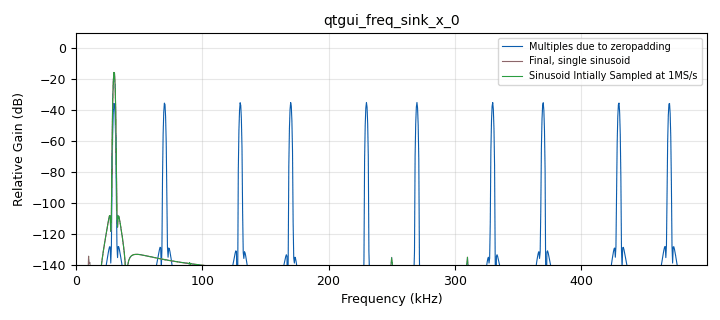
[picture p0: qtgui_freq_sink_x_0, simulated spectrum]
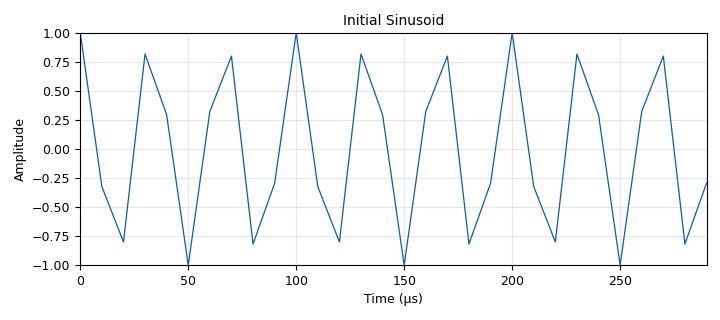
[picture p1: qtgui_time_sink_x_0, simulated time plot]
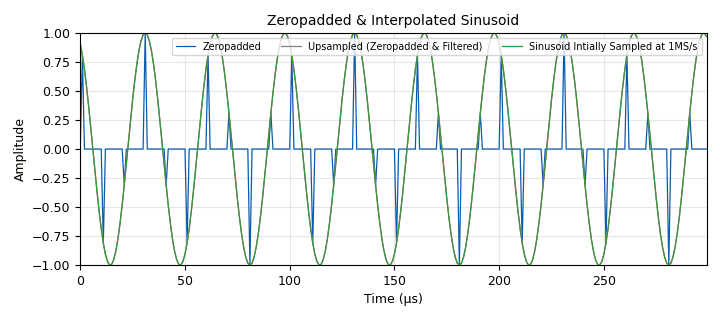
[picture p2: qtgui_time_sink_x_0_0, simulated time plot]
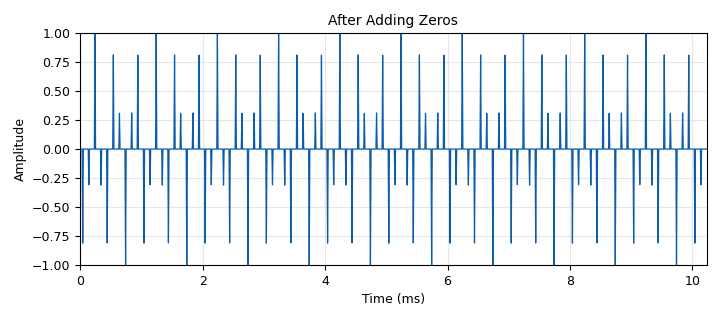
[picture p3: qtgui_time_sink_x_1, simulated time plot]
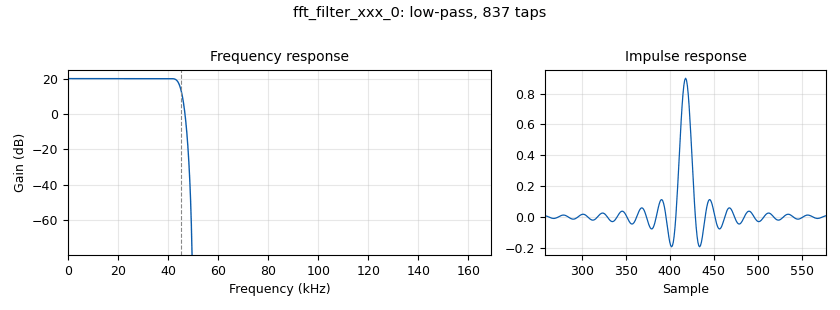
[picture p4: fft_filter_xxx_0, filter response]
options:
  parameters:
    author: Gary Schafer & Paul Maine
    description: This uses Zeropadding and Filtering to Upsample a Signal
    generate_options: qt_gui
    id: upsampleDemo
    output_language: python
    title: Demonstration of Straight Upsampling
  states: {}

blocks:
- name: N
  id: variable
  parameters:
    comment: |-
      Interpolation
      Value
    value: '10'
  states: {}
- name: filterDelay
  id: variable
  parameters:
    value: int(len(lpf)/2)
  states: {}
- name: lpf
  id: variable
  parameters:
    comment: 'Value: firdes.low_pass(N,(samp_rate*N),(samp_rate*0.45),(samp_rate*0.05),5)'
    value: firdes.low_pass(N,(samp_rate*N),(samp_rate*0.45),(samp_rate*0.05),5)
  states: {}
- name: samp_rate
  id: variable
  parameters:
    value: 100e3
  states: {}
- name: analog_sig_source_x_0
  id: analog_sig_source_x
  parameters:
    amp: '1'
    freq: '30000'
    offset: '0'
    phase: '0'
    samp_rate: samp_rate
    type: float
    waveform: analog.GR_COS_WAVE
  states: {}
- name: analog_sig_source_x_1
  id: analog_sig_source_x
  parameters:
    amp: '1'
    freq: 30e3
    offset: '0'
    phase: '0'
    samp_rate: 1e6
    type: float
    waveform: analog.GR_COS_WAVE
  states: {}
- name: blocks_delay_0
  id: blocks_delay
  parameters:
    comment: 'Delay: filterDelay'
    delay: filterDelay
    type: float
  states: {}
- name: blocks_delay_0_0
  id: blocks_delay
  parameters:
    comment: 'Delay: filterDelay'
    delay: filterDelay
    type: float
  states: {}
- name: blocks_null_source_0
  id: blocks_null_source
  parameters:
    type: float
  states: {}
- name: blocks_stream_mux_0
  id: blocks_stream_mux
  parameters:
    comment: |-
      Zeropad the waveform

      Lengths: (1, (N-1))
    lengths: (1, (N-1))
    type: float
  states: {}
- name: blocks_throttle_0
  id: blocks_throttle
  parameters:
    samples_per_second: samp_rate
    type: float
  states: {}
- name: fft_filter_xxx_0
  id: fft_filter_xxx
  parameters:
    decim: '1'
    taps: lpf
    type: fff
  states: {}
- name: qtgui_freq_sink_x_0
  id: qtgui_freq_sink_x
  parameters:
    bw: 1e6
    fc: '0'
    fftsize: '2048'
    freqhalf: 'False'
    label1: Multiples due to zeropadding
    label2: Final, single sinusoid
    label3: Sinusoid Intially Sampled at 1MS/s
    nconnections: '3'
    type: float
  states: {}
- name: qtgui_time_sink_x_0
  id: qtgui_time_sink_x
  parameters:
    gui_hint: 0,0
    legend: 'False'
    name: Initial Sinusoid
    size: '30'
    srate: samp_rate
    type: float
  states: {}
- name: qtgui_time_sink_x_0_0
  id: qtgui_time_sink_x
  parameters:
    gui_hint: 1,0
    label1: Zeropadded
    label2: Upsampled (Zeropadded & Filtered)
    label3: Sinusoid Intially Sampled at 1MS/s
    name: Zeropadded & Interpolated Sinusoid
    nconnections: '3'
    size: int(30*N)
    srate: samp_rate*N
    tr_mode: qtgui.TRIG_MODE_AUTO
    type: float
  states: {}
- name: qtgui_time_sink_x_1
  id: qtgui_time_sink_x
  parameters:
    name: After Adding Zeros
    size: '1024'
    srate: samp_rate
    type: float
  states: {}
- name: virtual_sink_1
  id: virtual_sink
  parameters:
    stream_id: muxOut
  states: {}
- name: virtual_source_0
  id: virtual_source
  parameters:
    stream_id: muxOut
  states: {}

connections:
- [analog_sig_source_x_0, '0', blocks_throttle_0, '0']
- [analog_sig_source_x_1, '0', blocks_delay_0_0, '0']
- [analog_sig_source_x_1, '0', qtgui_freq_sink_x_0, '2']
- [blocks_delay_0, '0', qtgui_time_sink_x_0_0, '0']
- [blocks_delay_0_0, '0', qtgui_time_sink_x_0_0, '2']
- [blocks_null_source_0, '0', blocks_stream_mux_0, '1']
- [blocks_stream_mux_0, '0', fft_filter_xxx_0, '0']
- [blocks_stream_mux_0, '0', qtgui_time_sink_x_1, '0']
- [blocks_stream_mux_0, '0', virtual_sink_1, '0']
- [blocks_throttle_0, '0', blocks_stream_mux_0, '0']
- [blocks_throttle_0, '0', qtgui_time_sink_x_0, '0']
- [fft_filter_xxx_0, '0', qtgui_freq_sink_x_0, '1']
- [fft_filter_xxx_0, '0', qtgui_time_sink_x_0_0, '1']
- [virtual_source_0, '0', blocks_delay_0, '0']
- [virtual_source_0, '0', qtgui_freq_sink_x_0, '0']

metadata:
  file_format: 1
  grc_version: 3.10.12.0
